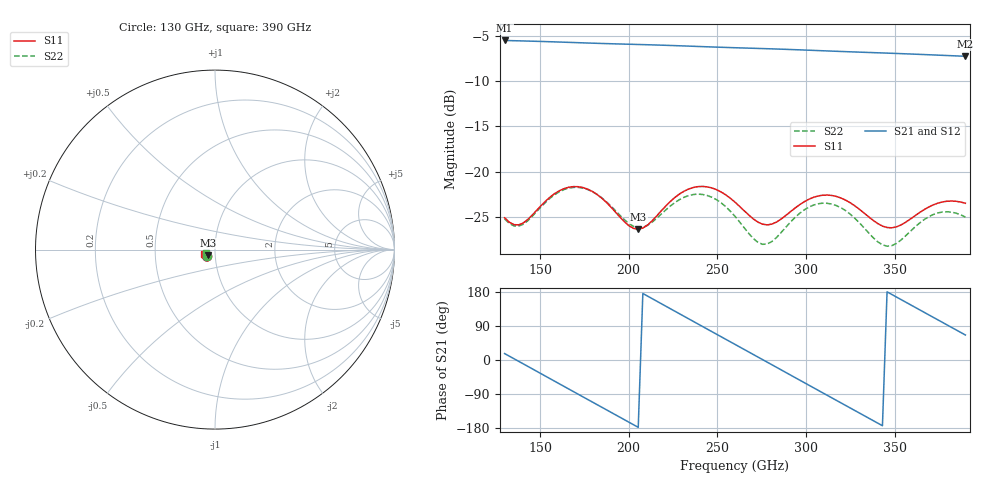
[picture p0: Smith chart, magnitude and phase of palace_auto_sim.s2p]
#  GHZ S DB R 50
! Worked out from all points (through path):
!   101 points, 130 GHz to 390 GHz, reference 50 ohm
!   highest |S21| = -5.52 dB at 130 GHz (marker M1); lowest = -7.3 dB at 390 GHz (marker M2)
!   group delay of S21, straight-line fit = 7.17 ps
!   lowest |S11| = -26.3 dB at 205.4 GHz (marker M3), VSWR 1.10, Z = 46.3 - j2.82 ohm
!   |S11| at or under -10 dB: start of sweep to end of sweep
!   |S22| runs from -28.2 to -21.7 dB; largest |S21 - S12| = 6e-14
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130  -25.08 -141.0  -5.52 17.0  -5.52 17.0  -25.21 -141.9
137.8  -25.86 -129.1  -5.56 -3.1  -5.56 -3.1  -26.00 -130.1
148.2  -24.22 -118.8  -5.61 -30.0  -5.61 -30.0  -24.36 -119.8
161.2  -22.06 -126.2  -5.69 -63.6  -5.69 -63.6  -22.17 -127.4
174.2  -21.74 -141.6  -5.78 -97.2  -5.78 -97.2  -21.80 -142.9
192.4  -24.41 -154.7  -5.89 -144.2  -5.89 -144.2  -24.26 -157.2
205.4  -26.34 -141.0  -5.96 -177.7  -5.96 -177.7  -26.17 -146.9
218.4  -24.31 -128.0  -6.04 148.6  -6.04 148.6  -24.66 -135.6
228.8  -22.43 -132.9  -6.10 121.7  -6.10 121.7  -23.05 -140.3
239.2  -21.63 -143.8  -6.18 94.8  -6.18 94.8  -22.46 -151.2
249.6  -21.97 -155.2  -6.25 68.0  -6.25 68.0  -23.08 -162.9
260  -23.35 -162.7  -6.32 41.2  -6.32 41.2  -24.91 -170.1
273  -25.56 -158.3  -6.40 7.7  -6.40 7.7  -27.79 -160.6
280.8  -25.77 -148.7  -6.44 -12.5  -6.44 -12.5  -27.69 -146.1
291.2  -24.42 -141.8  -6.51 -39.4  -6.51 -39.4  -25.57 -138.7
304.2  -22.82 -147.4  -6.61 -73.0  -6.61 -73.0  -23.68 -147.2
322.4  -23.12 -162.7  -6.75 -119.9  -6.75 -119.9  -24.28 -165.5
335.4  -24.96 -165.9  -6.84 -153.3  -6.84 -153.3  -26.73 -168.4
348.4  -26.18 -154.5  -6.93 173.1  -6.93 173.1  -28.15 -151.3
358.8  -25.23 -145.8  -7.01 146.3  -7.01 146.3  -26.59 -141.0
371.8  -23.65 -147.5  -7.11 112.8  -7.11 112.8  -24.72 -145.4
390  -23.47 -158.4  -7.26 66.0  -7.26 66.0  -25.00 -159.3
